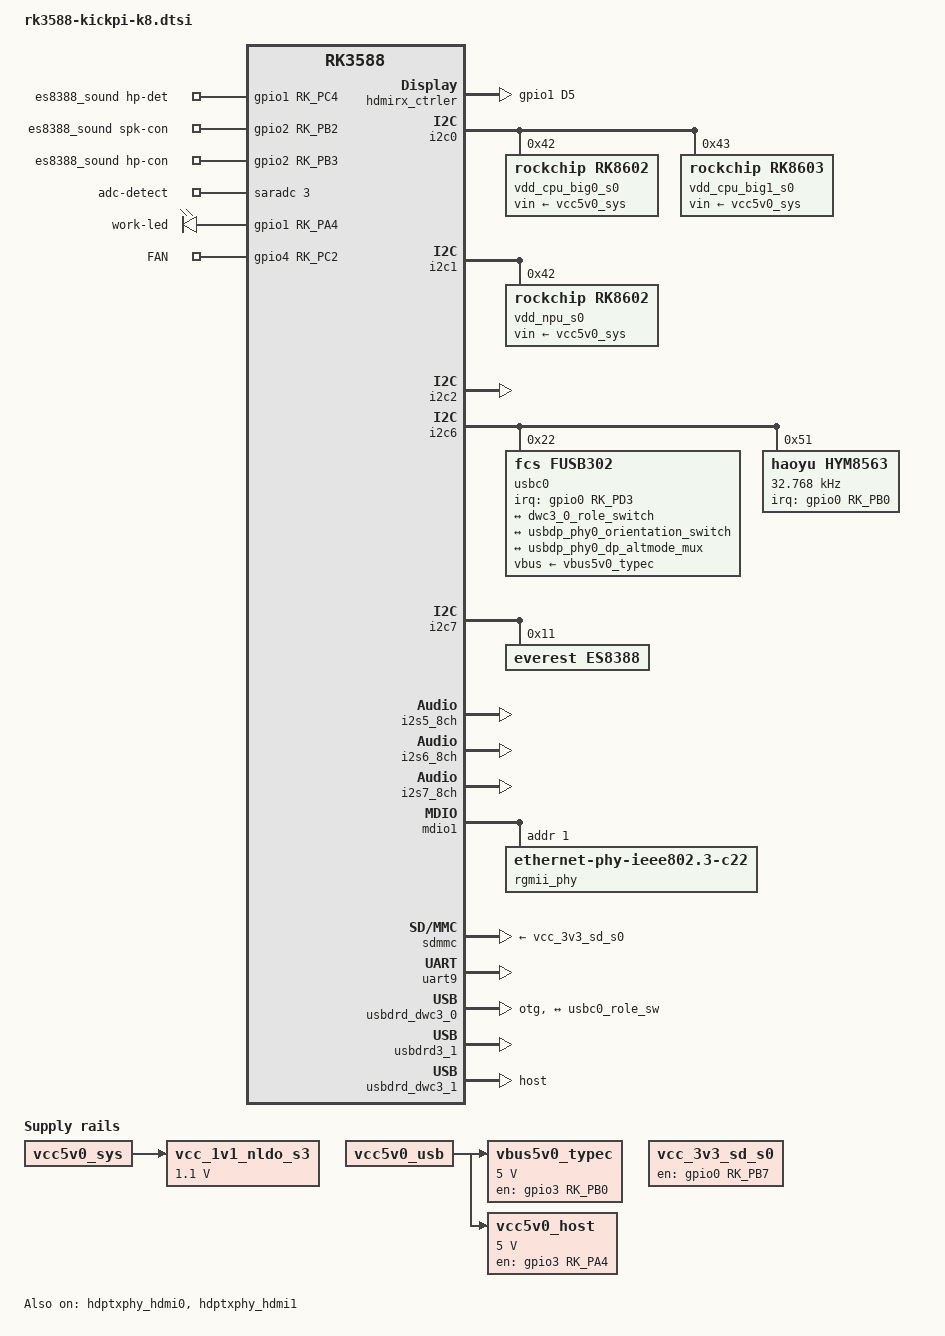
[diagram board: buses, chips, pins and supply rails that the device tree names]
// SPDX-License-Identifier: (GPL-2.0+ OR MIT)
/*
 * Copyright (c) 2022 Rockchip Electronics Co., Ltd.
 *
 */

#include "dt-bindings/usb/pd.h"
#include "rk3588.dtsi"
#include "rk3588-kickpi-evb.dtsi"
#include "rk3588-rk806-single.dtsi"

#include "rk3588-kickpi-lcd-mipi0-10.1-800-1280-AT101DS40I.dtsi"
//#include "rk3588-kickpi-lcd-mipi0-10.1-800-1280-MX101BA1340.dtsi"
//#include "rk3588-kickpi-lcd-mipi0-8-800-1280-MX080B2140.dtsi"
//#include "rk3588-kickpi-lcd-mipi0-5-720-1280-F050008M01.dtsi"

//#include "rk3588-kickpi-lcd-mipi1-10.1-800-1280-AT101DS40I.dtsi"
//#include "rk3588-kickpi-lcd-mipi1-10.1-800-1280-MX101BA1340.dtsi"
//#include "rk3588-kickpi-lcd-mipi1-8-800-1280-MX080B2140.dtsi"
//#include "rk3588-kickpi-lcd-mipi1-5-720-1280-F050008M01.dtsi"

#include "rk3588-kickpi-lcd-dp.dtsi"
#include "rk3588-kickpi-lcd-hdmi0.dtsi"
#include "rk3588-kickpi-lcd-hdmi1.dtsi"

//#include "rk3588-kickpi-4lcd-hdmi0-hdmi1-dp-mipi0.dtsi"
//#include "rk3588-kickpi-4lcd-hdmi0-hdmi1-mipi0-mipi1.dtsi"

#include "rk3588-kickpi-wifi-rtl8822be.dtsi"

#include "rk3588-kickpi-pcie.dtsi"

#include "rk3588-kickpi-ir.dtsi"

#include "rk3588-kickpi-k8-extend-40pin.dtsi"

/ {
	/* If hdmirx node is disabled, delete the reserved-memory node here. */
	reserved-memory {
		#address-cells = <2>;
		#size-cells = <2>;
		ranges;

		/* Reserve 128MB memory for hdmirx-controller@fdee0000 */
		cma {
			compatible = "shared-dma-pool";
			reusable;
			reg = <0x0 (256 * 0x100000) 0x0 (128 * 0x100000)>;
			linux,cma-default;
		};
	};

	es8388_sound: es8388-sound {
		status = "okay";
		compatible = "rockchip,multicodecs-card";
		rockchip,card-name = "rockchip-es8388";
		hp-det-gpio = <&gpio1 RK_PC4 GPIO_ACTIVE_HIGH>;
		io-channels = <&saradc 3>;
		io-channel-names = "adc-detect";
		keyup-threshold-microvolt = <1800000>;
		poll-interval = <100>;
		spk-con-gpio = <&gpio2 RK_PB2 GPIO_ACTIVE_HIGH>;
		hp-con-gpio = <&gpio2 RK_PB3 GPIO_ACTIVE_HIGH>;
		rockchip,format = "i2s";
		rockchip,mclk-fs = <256>;
		rockchip,cpu = <&i2s0_8ch>;
		rockchip,codec = <&es8388>;
		rockchip,audio-routing =
			"Headphone", "LOUT1",
			"Headphone", "ROUT1",
			"Speaker", "LOUT2",
			"Speaker", "ROUT2",
			"Headphone", "Headphone Power",
			"Headphone", "Headphone Power",
			"Speaker", "Speaker Power",
			"Speaker", "Speaker Power",
			"LINPUT1", "Main Mic",
			"LINPUT2", "Main Mic",
			"RINPUT1", "Headset Mic",
			"RINPUT2", "Headset Mic";
		pinctrl-names = "default";
		pinctrl-0 = <&hp_det>;
		play-pause-key {
			label = "playpause";
			linux,code = <KEY_PLAYPAUSE>;
			press-threshold-microvolt = <2000>;
		};
	};

	hdmiin-sound {
		compatible = "rockchip,hdmi";
		rockchip,mclk-fs = <128>;
		rockchip,format = "i2s";
		rockchip,bitclock-master = <&hdmirx_ctrler>;
		rockchip,frame-master = <&hdmirx_ctrler>;
		rockchip,card-name = "rockchip,hdmiin";
		rockchip,cpu = <&i2s7_8ch>;
		rockchip,codec = <&hdmirx_ctrler 0>;
		rockchip,jack-det;
	};

	vcc_1v1_nldo_s3: vcc-1v1-nldo-s3 {
		compatible = "regulator-fixed";
		regulator-name = "vcc_1v1_nldo_s3";
		regulator-always-on;
		regulator-boot-on;
		regulator-min-microvolt = <1100000>;
		regulator-max-microvolt = <1100000>;
		vin-supply = <&vcc5v0_sys>;
	};

	vbus5v0_typec: vbus5v0-typec {
		compatible = "regulator-fixed";
		regulator-name = "vbus5v0_typec";
		regulator-min-microvolt = <5000000>;
		regulator-max-microvolt = <5000000>;
		enable-active-high;
		gpio = <&gpio3 RK_PB0 GPIO_ACTIVE_HIGH>;
		vin-supply = <&vcc5v0_usb>;
		pinctrl-names = "default";
		pinctrl-0 = <&typec5v_pwren>;
	};

	vcc5v0_host: vcc5v0-host {
		compatible = "regulator-fixed";
		regulator-name = "vcc5v0_host";
		regulator-boot-on;
		regulator-always-on;
		regulator-min-microvolt = <5000000>;
		regulator-max-microvolt = <5000000>;
		enable-active-high;
		gpio = <&gpio3 RK_PA4 GPIO_ACTIVE_HIGH>;
		vin-supply = <&vcc5v0_usb>;
		pinctrl-names = "default";
		pinctrl-0 = <&vcc5v0_host_en>;
	};

	vcc_3v3_sd_s0: vcc-3v3-sd-s0-regulator {
		compatible = "regulator-fixed";
		gpio = <&gpio0 RK_PB7 GPIO_ACTIVE_HIGH>;
		pinctrl-names = "default";
		pinctrl-0 = <&sd_s0_pwr>;
		regulator-name = "vcc_3v3_sd_s0";
		enable-active-high;
	};

};

&gmac1 {
	status = "disabled";
};

/* Should work with at least 128MB cma reserved above. */
&hdmirx_ctrler {
	status = "okay";

	#sound-dai-cells = <1>;
	/* Effective level used to trigger HPD: 0-low, 1-high */
	hpd-trigger-level = <1>;
	hdmirx-det-gpios = <&gpio1 RK_PD5 GPIO_ACTIVE_LOW>;
	pinctrl-names = "default";
	pinctrl-0 = <&hdmim1_rx &hdmirx_det>;
};

&hdptxphy_hdmi0 {
	status = "okay";
};

&hdptxphy_hdmi1 {
	status = "okay";
};

&i2c0 {
	status = "okay";
	pinctrl-names = "default";
	pinctrl-0 = <&i2c0m2_xfer>;

	vdd_cpu_big0_s0: vdd_cpu_big0_mem_s0: rk8602@42 {
		compatible = "rockchip,rk8602";
		reg = <0x42>;
		vin-supply = <&vcc5v0_sys>;
		regulator-compatible = "rk860x-reg";
		regulator-name = "vdd_cpu_big0_s0";
		regulator-min-microvolt = <550000>;
		regulator-max-microvolt = <1050000>;
		regulator-ramp-delay = <2300>;
		rockchip,suspend-voltage-selector = <1>;
		regulator-boot-on;
		regulator-always-on;
		regulator-state-mem {
			regulator-off-in-suspend;
		};
	};

	vdd_cpu_big1_s0: vdd_cpu_big1_mem_s0: rk8603@43 {
		compatible = "rockchip,rk8603";
		reg = <0x43>;
		vin-supply = <&vcc5v0_sys>;
		regulator-compatible = "rk860x-reg";
		regulator-name = "vdd_cpu_big1_s0";
		regulator-min-microvolt = <550000>;
		regulator-max-microvolt = <1050000>;
		regulator-ramp-delay = <2300>;
		rockchip,suspend-voltage-selector = <1>;
		regulator-boot-on;
		regulator-always-on;
		regulator-state-mem {
			regulator-off-in-suspend;
		};
	};
};

&i2c1 {
	status = "okay";
	pinctrl-names = "default";
	pinctrl-0 = <&i2c1m2_xfer>;

	vdd_npu_s0: vdd_npu_mem_s0: rk8602@42 {
		compatible = "rockchip,rk8602";
		reg = <0x42>;
		vin-supply = <&vcc5v0_sys>;
		regulator-compatible = "rk860x-reg";
		regulator-name = "vdd_npu_s0";
		regulator-min-microvolt = <550000>;
		regulator-max-microvolt = <950000>;
		regulator-ramp-delay = <2300>;
		rockchip,suspend-voltage-selector = <1>;
		regulator-boot-on;
		regulator-always-on;
		regulator-state-mem {
			regulator-off-in-suspend;
		};
	};
};

&i2c2 {
	status = "okay";
	pinctrl-0 = <&i2c2m4_xfer>;
	// MIPI-CSI
};

&i2c6 {
	status = "okay";

	usbc0: fusb302@22 {
		compatible = "fcs,fusb302";
		reg = <0x22>;
		interrupt-parent = <&gpio0>;
		interrupts = <RK_PD3 IRQ_TYPE_LEVEL_LOW>;
		pinctrl-names = "default";
		pinctrl-0 = <&usbc0_int>;
		vbus-supply = <&vbus5v0_typec>;
		status = "okay";

		ports {
			#address-cells = <1>;
			#size-cells = <0>;

			port@0 {
				reg = <0>;
				usbc0_role_sw: endpoint@0 {
					remote-endpoint = <&dwc3_0_role_switch>;
				};
			};
		};

		usb_con: connector {
			compatible = "usb-c-connector";
			label = "USB-C";
			data-role = "dual";
			power-role = "dual";
			try-power-role = "sink";
			op-sink-microwatt = <1000000>;
			sink-pdos =
				<PDO_FIXED(5000, 1000, PDO_FIXED_USB_COMM)>;
			source-pdos =
				<PDO_FIXED(5000, 3000, PDO_FIXED_USB_COMM)>;

			altmodes {
				#address-cells = <1>;
				#size-cells = <0>;

				altmode@0 {
					reg = <0>;
					svid = <0xff01>;
					vdo = <0xffffffff>;
				};
			};

			ports {
				#address-cells = <1>;
				#size-cells = <0>;

				port@0 {
					reg = <0>;
					usbc0_orien_sw: endpoint {
						remote-endpoint = <&usbdp_phy0_orientation_switch>;
					};
				};

				port@1 {
					reg = <1>;
					dp_altmode_mux: endpoint {
						remote-endpoint = <&usbdp_phy0_dp_altmode_mux>;
					};
				};
			};
		};
	};

	hym8563: hym8563@51 {
		compatible = "haoyu,hym8563";
		reg = <0x51>;
		#clock-cells = <0>;
		clock-frequency = <32768>;
		clock-output-names = "hym8563";
		pinctrl-names = "default";
		pinctrl-0 = <&hym8563_int>;
		interrupt-parent = <&gpio0>;
		interrupts = <RK_PB0 IRQ_TYPE_LEVEL_LOW>;
		wakeup-source;
	};
};

&i2c7 {
	status = "okay";
	es8388: es8388@11 {
		status = "okay";
		#sound-dai-cells = <0>;
		compatible = "everest,es8388", "everest,es8323";
		reg = <0x11>;
		clocks = <&mclkout_i2s0>;
		clock-names = "mclk";
		assigned-clocks = <&mclkout_i2s0>;
		assigned-clock-rates = <12288000>;
		pinctrl-names = "default";
		pinctrl-0 = <&i2s0_mclk>;
	};
};

&i2s5_8ch {
	status = "okay";
};

&i2s6_8ch {
	status = "okay";
};

&i2s7_8ch {
	status = "okay";
};

&mdio1 {
	rgmii_phy: phy@1 {
		compatible = "ethernet-phy-ieee802.3-c22";
		reg = <0x1>;
	};
};

&pinctrl {
	hdmi {
		hdmirx_det: hdmirx-det {
			rockchip,pins = <1 RK_PD5 RK_FUNC_GPIO &pcfg_pull_up>;
		};
	};

	headphone {
		hp_det: hp-det {
			rockchip,pins = <1 RK_PC4 RK_FUNC_GPIO &pcfg_pull_none>;
		};
	};

	hym8563 {
		hym8563_int: hym8563-int {
			rockchip,pins = <0 RK_PB0 RK_FUNC_GPIO &pcfg_pull_up>;
		};
	};

	leds {
		work_leds_gpio: work-leds-gpio {
			rockchip,pins = <1 RK_PA4 RK_FUNC_GPIO &pcfg_pull_down>;
		};
	};

	sdmmc {
		sd_s0_pwr: sd-s0-pwr {
			rockchip,pins = <0 RK_PB7 RK_FUNC_GPIO &pcfg_pull_up>;
		};
	};

	usb {
		vcc5v0_host_en: vcc5v0-host-en {
			rockchip,pins = <3 RK_PA4 RK_FUNC_GPIO &pcfg_pull_none>;
		};
	};

	usb-typec {
		usbc0_int: usbc0-int {
			rockchip,pins = <0 RK_PD3 RK_FUNC_GPIO &pcfg_pull_up>;
		};

		typec5v_pwren: typec5v-pwren {
			rockchip,pins = <3 RK_PB0 RK_FUNC_GPIO &pcfg_pull_none>;
		};
	};

	pcie {
		pcie20x1_0_clkreqn_m1: pcie20x1-0-clkreqn-m1 {
			rockchip,pins = <4 RK_PB4 RK_FUNC_GPIO &pcfg_output_low>;
		};
	};
};

&sdio {
	max-frequency = <150000000>;
	no-sd;
	no-mmc;
	bus-width = <4>;
	disable-wp;
	cap-sd-highspeed;
	cap-sdio-irq;
	keep-power-in-suspend;
	//mmc-pwrseq = <&sdio_pwrseq>;
	non-removable;
	pinctrl-names = "default";
	pinctrl-0 = <&sdiom0_pins>;
	sd-uhs-sdr104;
	status = "disabled";
};

&sdmmc {
	status = "okay";
	vmmc-supply = <&vcc_3v3_sd_s0>;
};

&uart9 {
	status = "okay";
	pinctrl-names = "default";
	pinctrl-0 = <&uart9m0_xfer &uart9m0_ctsn>;
};

&u2phy0_otg {
	rockchip,typec-vbus-det;
};

&u2phy1_otg {
	phy-supply = <&vcc5v0_host>;
};

&u2phy2_host {
	phy-supply = <&vcc5v0_host>;
};

&u2phy3_host {
	phy-supply = <&vcc5v0_host>;
};

&usbdp_phy0 {
	orientation-switch;
	svid = <0xff01>;
	sbu1-dc-gpios = <&gpio1 RK_PB4 GPIO_ACTIVE_HIGH>;
	sbu2-dc-gpios = <&gpio1 RK_PB5 GPIO_ACTIVE_HIGH>;

	port {
		#address-cells = <1>;
		#size-cells = <0>;
		usbdp_phy0_orientation_switch: endpoint@0 {
			reg = <0>;
			remote-endpoint = <&usbc0_orien_sw>;
		};

		usbdp_phy0_dp_altmode_mux: endpoint@1 {
			reg = <1>;
			remote-endpoint = <&dp_altmode_mux>;
		};
	};
};

&usbdrd_dwc3_0 {
	dr_mode = "otg";
	usb-role-switch;
	port {
		#address-cells = <1>;
		#size-cells = <0>;
		dwc3_0_role_switch: endpoint@0 {
			reg = <0>;
			remote-endpoint = <&usbc0_role_sw>;
		};
	};
};

&usbhost3_0 {
	status = "disabled";
};

&usbhost_dwc3_0 {
	status = "disabled";
};

&work_led {
    label = "work-led";
	gpios = <&gpio1 RK_PA4 GPIO_ACTIVE_HIGH>;
	pinctrl-names = "default";
	pinctrl-0 = <&work_leds_gpio>;
};

&leds {

    gpio4c2 {
        label = "FAN";
		gpios = <&gpio4 RK_PC2 GPIO_ACTIVE_HIGH>;
		default-state = "on";
	};

    // gpio2-c5 {
    //     label = "PCIE_PWREN";
	// 	gpios = <&gpio2 RK_PC5 GPIO_ACTIVE_HIGH>;
	// 	default-state = "on";
	// };

};

&usbdp_phy1 {
	rockchip,dp-lane-mux = <2 3>;
};

&usbdrd3_1 {
 	status = "okay";
};

&usbdrd_dwc3_1 {
	dr_mode = "host";
	status = "okay";
};


